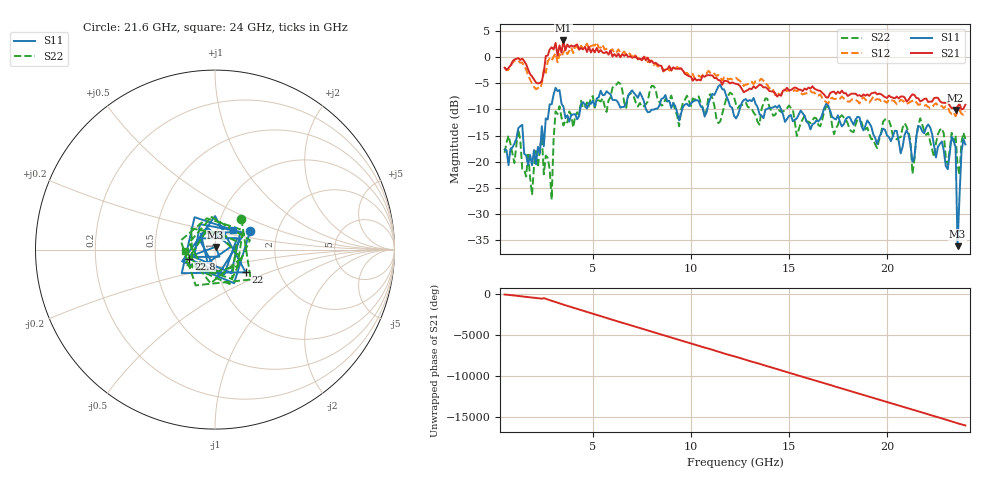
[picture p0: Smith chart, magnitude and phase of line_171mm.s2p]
!Created with skrf (http://scikit-rf.org).
# GHz S RI R 50.0
!freq ReS11 ImS11 ReS21 ImS21 ReS12 ImS12 ReS22 ImS22
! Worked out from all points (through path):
!   236 points, 500 MHz to 24 GHz, reference 50 ohm
!   highest |S21| = 3.24 dB at 3.5 GHz (marker M1); lowest = -10.1 dB at 23.5 GHz (marker M2)
!   lowest |S11| = -36.2 dB at 23.6 GHz (marker M3), VSWR 1.03, Z = 50.3 + j1.52 ohm
!   |S11| at or under -10 dB: start of sweep to 2.766 GHz; 14.6 GHz to 16.78 GHz (2.174 GHz wide, 13.9 % of centre); 17.08 GHz to end of sweep (the widest 3 of 9)
!   |S22| runs from -27.3 to -4.8 dB; largest |S21 - S12| = 2.6
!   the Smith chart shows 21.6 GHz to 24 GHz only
!   S11 on the Smith chart (normalised r, x): 21.6 GHz: 1.45, +0.31; 22 GHz: 1.36, -0.36; 22.8 GHz: 0.74, -0.08; 24 GHz: 1.19, +0.26
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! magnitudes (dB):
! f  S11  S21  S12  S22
! 500 MHz  -17.7  -2.0  -1.9  -18.3
! 1.2 GHz  -13.6  -0.1  -0.6  -13.8
! 1.9 GHz  -20.7  -3.7  -5.1  -26.4
! 2.4 GHz  -13.2  -4.5  -5.1  -15.2
! 2.9 GHz  -9.0  1.9  -0.6  -27.3
! 3.1 GHz  -5.8  2.8  0.8  -10.4
! 3.5 GHz  -9.4  3.2  1.0  -13.1
! 4.5 GHz  -8.6  1.5  1.7  -9.8
! 8.4 GHz  -9.2  -1.6  -1.7  -8.6
! 12.3 GHz  -11.7  -5.1  -3.9  -9.0
! 16.2 GHz  -12.8  -5.5  -6.8  -12.0
! 20.1 GHz  -15.3  -7.3  -8.1  -12.0
! 21 GHz  -14.0  -8.5  -8.9  -13.3
! 21.3 GHz  -20.0  -7.1  -8.4  -22.3
! 21.6 GHz  -13.1  -7.9  -9.1  -12.9
! 22 GHz  -13.5  -7.9  -9.2  -14.9
! 22.8 GHz  -16.2  -8.7  -9.4  -13.6
! 23.1 GHz  -21.5  -8.6  -9.5  -20.6
! 23.5 GHz  -17.3  -10.1  -11.3  -15.0
! 23.6 GHz  -36.2  -9.4  -10.5  -20.7
! 23.8 GHz  -18.2  -10.0  -10.8  -16.3
! 24 GHz  -16.7  -9.1  -10.4  -15.7
